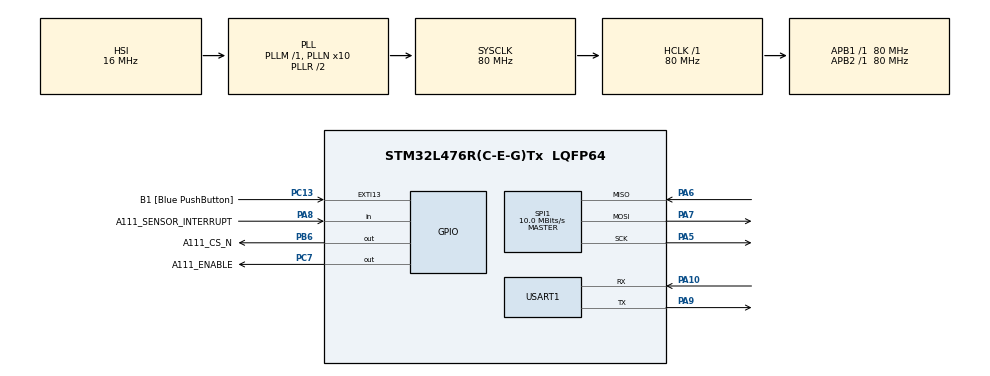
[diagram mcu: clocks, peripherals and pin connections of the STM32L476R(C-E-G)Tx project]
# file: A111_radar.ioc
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Mcu.Family=STM32L4
Mcu.Name=STM32L476R(C-E-G)Tx
Mcu.Package=LQFP64
NVIC.PriorityGroup=NVIC_PRIORITYGROUP_4
PA10.Mode=Asynchronous
PA10.Signal=USART1_RX
PA13\ (JTMS-SWDIO).GPIO_Label=TMS
PA13\ (JTMS-SWDIO).Signal=SYS_JTMS-SWDIO
PA14\ (JTCK-SWCLK).GPIO_Label=TCK
PA14\ (JTCK-SWCLK).Signal=SYS_JTCK-SWCLK
PA2.GPIO_Label=USART_TX
PA2.GPIO_Mode=GPIO_MODE_AF_PP
PA2.GPIO_PuPd=GPIO_NOPULL
PA2.GPIO_Speed=GPIO_SPEED_FREQ_VERY_HIGH
PA2.Signal=USART2_TX
PA3.GPIO_Label=USART_RX
PA3.GPIO_Mode=GPIO_MODE_AF_PP
PA3.GPIO_PuPd=GPIO_NOPULL
PA3.GPIO_Speed=GPIO_SPEED_FREQ_VERY_HIGH
PA3.Signal=USART2_RX
PA5.Mode=Full_Duplex_Master
PA5.Signal=SPI1_SCK
PA6.Mode=Full_Duplex_Master
PA6.Signal=SPI1_MISO
PA7.Mode=Full_Duplex_Master
PA7.Signal=SPI1_MOSI
PA9.Mode=Asynchronous
PA9.Signal=USART1_TX
PA8.GPIO_Label=A111_SENSOR_INTERRUPT
PA8.GPIO_PuPd=GPIO_PULLDOWN
PA8.Signal=GPIO_Input
PC7.GPIO_Label=A111_ENABLE
PC7.Signal=GPIO_Output
PB6.GPIO_Label=A111_CS_N
PB6.Signal=GPIO_Output
PC13.GPIO_Label=B1 [Blue PushButton]
PC13.GPIO_ModeDefaultEXTI=GPIO_MODE_IT_FALLING
PC13.GPIO_PuPd=GPIO_NOPULL
PC13.Signal=GPXTI13
PC14-OSC32_IN\ (PC14).Signal=RCC_OSC32_IN
PC15-OSC32_OUT\ (PC15).Signal=RCC_OSC32_OUT
PH0-OSC_IN\ (PH0).Signal=RCC_OSC_IN
PH1-OSC_OUT\ (PH1).Signal=RCC_OSC_OUT
ProjectManager.HeapSize=0x200
ProjectManager.StackSize=0x2000
ProjectManager.TargetToolchain=STM32CubeIDE
RCC.ADCFreq_Value=64000000
RCC.AHBFreq_Value=80000000
RCC.APB1Freq_Value=80000000
RCC.APB1TimFreq_Value=80000000
RCC.APB2Freq_Value=80000000
RCC.APB2TimFreq_Value=80000000
RCC.CortexFreq_Value=80000000
RCC.HCLKFreq_Value=80000000
RCC.HSE_VALUE=8000000
RCC.HSI_VALUE=16000000
RCC.LSE_VALUE=32768
RCC.MSI_VALUE=4000000
RCC.PLLN=10
RCC.PLLSourceVirtual=RCC_PLLSOURCE_HSI
RCC.PREFETCH_ENABLE=1
RCC.SYSCLKFreq_VALUE=80000000
RCC.SYSCLKSource=RCC_SYSCLKSOURCE_PLLCLK
RCC.USBFreq_Value=64000000
RCC.VCOOutputFreq_Value=160000000
SPI1.BaudRatePrescaler=SPI_BAUDRATEPRESCALER_8
SPI1.CalculateBaudRate=10.0 MBits/s
SPI1.DataSize=SPI_DATASIZE_8BIT
SPI1.Direction=SPI_DIRECTION_2LINES
SPI1.Mode=SPI_MODE_MASTER
SPI1.VirtualType=VM_MASTER
USART1.VirtualMode-Asynchronous=VM_ASYNC
board=NUCLEO-L476RG

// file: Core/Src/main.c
/* USER CODE BEGIN Header */
/**
  ******************************************************************************
  * @file           : main.c
  * @brief          : Main program body
  ******************************************************************************
  * @attention
  *
  * Copyright (c) 2026 STMicroelectronics.
  * All rights reserved.
  *
  * This software is licensed under terms that can be found in the LICENSE file
  * in the root directory of this software component.
  * If no LICENSE file comes with this software, it is provided AS-IS.
  *
  ******************************************************************************
  */
/* USER CODE END Header */
#include "main.h"

/* USER CODE BEGIN Includes */
#include <stdio.h>
#include "acc_hal_integration.h"
#include "acc_rss.h"
#include "acc_service.h"
#include "acc_service_envelope.h"
/* USER CODE END Includes */

/* USER CODE BEGIN PTD */
typedef enum {
  RADAR_STARTING,
  RADAR_ERR_RSS_ACTIVATE,
  RADAR_ERR_CONFIG,
  RADAR_ERR_SERVICE_CREATE,
  RADAR_ERR_BUFFER_TOO_SMALL,
  RADAR_ERR_SERVICE_ACTIVATE,
  RADAR_RUNNING,
  RADAR_ERR_GET_NEXT
} radar_state_t;
/* USER CODE END PTD */

/* USER CODE BEGIN PD */
#define START_M 0.2f
#define LENGTH_M 0.5f
#define MAX_LEN 2048
#define LOG_LEN 1024
/* USER CODE END PD */

SPI_HandleTypeDef hspi1;

UART_HandleTypeDef huart1;

/* USER CODE BEGIN PV */
volatile radar_state_t radar_state = RADAR_STARTING;
volatile uint32_t sweep_count = 0;
volatile uint16_t peak_amplitude = 0;
volatile uint32_t peak_distance_mm = 0;

uint16_t envelope[MAX_LEN];
acc_service_envelope_metadata_t radar_meta;
acc_service_envelope_result_info_t radar_info;
acc_service_handle_t radar_handle;

char rss_log[LOG_LEN];
int log_pos = 0;

char tx_buf[32];
/* USER CODE END PV */

void SystemClock_Config(void);
static void MX_GPIO_Init(void);
static void MX_SPI1_Init(void);
static void MX_USART1_UART_Init(void);
/* USER CODE BEGIN PFP */
radar_state_t radar_init(void);
void radar_restart(void);
void find_peak(void);
/* USER CODE END PFP */

/* USER CODE BEGIN 0 */
int __io_putchar(int ch)
{
  ITM_SendChar(ch);
  if (log_pos >= LOG_LEN - 1) {
    log_pos = 0;  /* wrap so the newest messages are kept */
  }
  rss_log[log_pos++] = ch;
  rss_log[log_pos] = 0;
  return ch;
}

radar_state_t radar_init(void)
{
  if (!acc_rss_activate(acc_hal_integration_get_implementation()))
    return RADAR_ERR_RSS_ACTIVATE;

  acc_service_configuration_t config = acc_service_envelope_configuration_create();
  if (config == NULL)
    return RADAR_ERR_CONFIG;

  acc_service_requested_start_set(config, START_M);
  acc_service_requested_length_set(config, LENGTH_M);

  radar_handle = acc_service_create(config);
  acc_service_envelope_configuration_destroy(&config);
  if (radar_handle == NULL)
    return RADAR_ERR_SERVICE_CREATE;

  acc_service_envelope_get_metadata(radar_handle, &radar_meta);
  if (radar_meta.data_length > MAX_LEN)
    return RADAR_ERR_BUFFER_TOO_SMALL;

  if (!acc_service_activate(radar_handle))
    return RADAR_ERR_SERVICE_ACTIVATE;

  return RADAR_RUNNING;
}

/* Tear down and re-initialize the radar until it runs again. */
void radar_restart(void)
{
  do {
    if (radar_handle != NULL) {
      acc_service_deactivate(radar_handle);
      acc_service_destroy(&radar_handle);
    }
    acc_rss_deactivate();
    HAL_Delay(100);
    radar_state = radar_init();
  } while (radar_state != RADAR_RUNNING);
}

void find_peak(void)
{
  int max_i = 0;
  uint16_t max = 0;

  for (int i = 0; i < radar_meta.data_length; i++) {
    if (envelope[i] > max) {
      max = envelope[i];
      max_i = i;
    }
  }

  peak_amplitude = max;
  peak_distance_mm = (radar_meta.start_m + max_i * radar_meta.step_length_m) * 1000;
}
/* USER CODE END 0 */

int main(void)
{

  /* MCU Configuration--------------------------------------------------------*/

  /* Reset of all peripherals, Initializes the Flash interface and the Systick. */
  HAL_Init();

  /* Configure the system clock */
  SystemClock_Config();

  /* Initialize all configured peripherals */
  MX_GPIO_Init();
  MX_SPI1_Init();
  MX_USART1_UART_Init();
  /* USER CODE BEGIN 2 */
  radar_state = radar_init();
  if (radar_state != RADAR_RUNNING) {
    radar_restart();
  }
  /* USER CODE END 2 */

  /* Infinite loop */
  while (1)
  {

    /* USER CODE BEGIN 3 */
    if (!acc_service_envelope_get_next(radar_handle, envelope, radar_meta.data_length, &radar_info)) {
      radar_state = RADAR_ERR_GET_NEXT;
      radar_restart();
      continue;
    }

    find_peak();
    sweep_count++;

    int len = sprintf(tx_buf, "%lu,%u\n", peak_distance_mm, peak_amplitude);
    HAL_UART_Transmit(&huart1, (uint8_t *)tx_buf, len, 10);
  }
  /* USER CODE END 3 */
}

void SystemClock_Config(void)
{
  RCC_OscInitTypeDef RCC_OscInitStruct = {0};
  RCC_ClkInitTypeDef RCC_ClkInitStruct = {0};

  /** Configure the main internal regulator output voltage
  */
  if (HAL_PWREx_ControlVoltageScaling(PWR_REGULATOR_VOLTAGE_SCALE1) != HAL_OK)
  {
    Error_Handler();
  }

  /** Initializes the RCC Oscillators according to the specified parameters
  * in the RCC_OscInitTypeDef structure.
  */
  RCC_OscInitStruct.OscillatorType = RCC_OSCILLATORTYPE_HSI;
  RCC_OscInitStruct.HSIState = RCC_HSI_ON;
  RCC_OscInitStruct.HSICalibrationValue = RCC_HSICALIBRATION_DEFAULT;
  RCC_OscInitStruct.PLL.PLLState = RCC_PLL_ON;
  RCC_OscInitStruct.PLL.PLLSource = RCC_PLLSOURCE_HSI;
  RCC_OscInitStruct.PLL.PLLM = 1;
  RCC_OscInitStruct.PLL.PLLN = 10;
  RCC_OscInitStruct.PLL.PLLP = RCC_PLLP_DIV7;
  RCC_OscInitStruct.PLL.PLLQ = RCC_PLLQ_DIV2;
  RCC_OscInitStruct.PLL.PLLR = RCC_PLLR_DIV2;
  if (HAL_RCC_OscConfig(&RCC_OscInitStruct) != HAL_OK)
  {
    Error_Handler();
  }

  /** Initializes the CPU, AHB and APB buses clocks
  */
  RCC_ClkInitStruct.ClockType = RCC_CLOCKTYPE_HCLK|RCC_CLOCKTYPE_SYSCLK
                              |RCC_CLOCKTYPE_PCLK1|RCC_CLOCKTYPE_PCLK2;
  RCC_ClkInitStruct.SYSCLKSource = RCC_SYSCLKSOURCE_PLLCLK;
  RCC_ClkInitStruct.AHBCLKDivider = RCC_SYSCLK_DIV1;
  RCC_ClkInitStruct.APB1CLKDivider = RCC_HCLK_DIV1;
  RCC_ClkInitStruct.APB2CLKDivider = RCC_HCLK_DIV1;

  if (HAL_RCC_ClockConfig(&RCC_ClkInitStruct, FLASH_LATENCY_4) != HAL_OK)
  {
    Error_Handler();
  }
}

static void MX_SPI1_Init(void)
{

  /* SPI1 parameter configuration*/
  hspi1.Instance = SPI1;
  hspi1.Init.Mode = SPI_MODE_MASTER;
  hspi1.Init.Direction = SPI_DIRECTION_2LINES;
  hspi1.Init.DataSize = SPI_DATASIZE_8BIT;
  hspi1.Init.CLKPolarity = SPI_POLARITY_LOW;
  hspi1.Init.CLKPhase = SPI_PHASE_1EDGE;
  hspi1.Init.NSS = SPI_NSS_SOFT;
  hspi1.Init.BaudRatePrescaler = SPI_BAUDRATEPRESCALER_8;
  hspi1.Init.FirstBit = SPI_FIRSTBIT_MSB;
  hspi1.Init.TIMode = SPI_TIMODE_DISABLE;
  hspi1.Init.CRCCalculation = SPI_CRCCALCULATION_DISABLE;
  hspi1.Init.CRCPolynomial = 7;
  hspi1.Init.CRCLength = SPI_CRC_LENGTH_DATASIZE;
  hspi1.Init.NSSPMode = SPI_NSS_PULSE_ENABLE;
  if (HAL_SPI_Init(&hspi1) != HAL_OK)
  {
    Error_Handler();
  }

}

static void MX_USART1_UART_Init(void)
{

  huart1.Instance = USART1;
  huart1.Init.BaudRate = 115200;
  huart1.Init.WordLength = UART_WORDLENGTH_8B;
  huart1.Init.StopBits = UART_STOPBITS_1;
  huart1.Init.Parity = UART_PARITY_NONE;
  huart1.Init.Mode = UART_MODE_TX_RX;
  huart1.Init.HwFlowCtl = UART_HWCONTROL_NONE;
  huart1.Init.OverSampling = UART_OVERSAMPLING_16;
  huart1.Init.OneBitSampling = UART_ONE_BIT_SAMPLE_DISABLE;
  huart1.AdvancedInit.AdvFeatureInit = UART_ADVFEATURE_NO_INIT;
  if (HAL_UART_Init(&huart1) != HAL_OK)
  {
    Error_Handler();
  }

}

static void MX_GPIO_Init(void)
{
  GPIO_InitTypeDef GPIO_InitStruct = {0};

  /* GPIO Ports Clock Enable */
  __HAL_RCC_GPIOC_CLK_ENABLE();
  __HAL_RCC_GPIOH_CLK_ENABLE();
  __HAL_RCC_GPIOA_CLK_ENABLE();
  __HAL_RCC_GPIOB_CLK_ENABLE();

  /*Configure GPIO pin Output Level */
  HAL_GPIO_WritePin(A111_ENABLE_GPIO_Port, A111_ENABLE_Pin, GPIO_PIN_RESET);

  /*Configure GPIO pin Output Level */
  HAL_GPIO_WritePin(A111_CS_N_GPIO_Port, A111_CS_N_Pin, GPIO_PIN_RESET);

  /*Configure GPIO pin : B1_Pin */
  GPIO_InitStruct.Pin = B1_Pin;
  GPIO_InitStruct.Mode = GPIO_MODE_IT_FALLING;
  GPIO_InitStruct.Pull = GPIO_NOPULL;
  HAL_GPIO_Init(B1_GPIO_Port, &GPIO_InitStruct);

  /*Configure GPIO pins : USART_TX_Pin USART_RX_Pin */
  GPIO_InitStruct.Pin = USART_TX_Pin|USART_RX_Pin;
  GPIO_InitStruct.Mode = GPIO_MODE_AF_PP;
  GPIO_InitStruct.Pull = GPIO_NOPULL;
  GPIO_InitStruct.Speed = GPIO_SPEED_FREQ_VERY_HIGH;
  GPIO_InitStruct.Alternate = GPIO_AF7_USART2;
  HAL_GPIO_Init(GPIOA, &GPIO_InitStruct);

  /*Configure GPIO pin : A111_SENSOR_INTERRUPT_Pin */
  GPIO_InitStruct.Pin = A111_SENSOR_INTERRUPT_Pin;
  GPIO_InitStruct.Mode = GPIO_MODE_INPUT;
  GPIO_InitStruct.Pull = GPIO_PULLDOWN;
  HAL_GPIO_Init(A111_SENSOR_INTERRUPT_GPIO_Port, &GPIO_InitStruct);

  /*Configure GPIO pin : A111_ENABLE_Pin */
  GPIO_InitStruct.Pin = A111_ENABLE_Pin;
  GPIO_InitStruct.Mode = GPIO_MODE_OUTPUT_PP;
  GPIO_InitStruct.Pull = GPIO_NOPULL;
  GPIO_InitStruct.Speed = GPIO_SPEED_FREQ_LOW;
  HAL_GPIO_Init(A111_ENABLE_GPIO_Port, &GPIO_InitStruct);

  /*Configure GPIO pin : A111_CS_N_Pin */
  GPIO_InitStruct.Pin = A111_CS_N_Pin;
  GPIO_InitStruct.Mode = GPIO_MODE_OUTPUT_PP;
  GPIO_InitStruct.Pull = GPIO_NOPULL;
  GPIO_InitStruct.Speed = GPIO_SPEED_FREQ_LOW;
  HAL_GPIO_Init(A111_CS_N_GPIO_Port, &GPIO_InitStruct);

}

void Error_Handler(void)
{
  __disable_irq();
  while (1)
  {
  }
}
